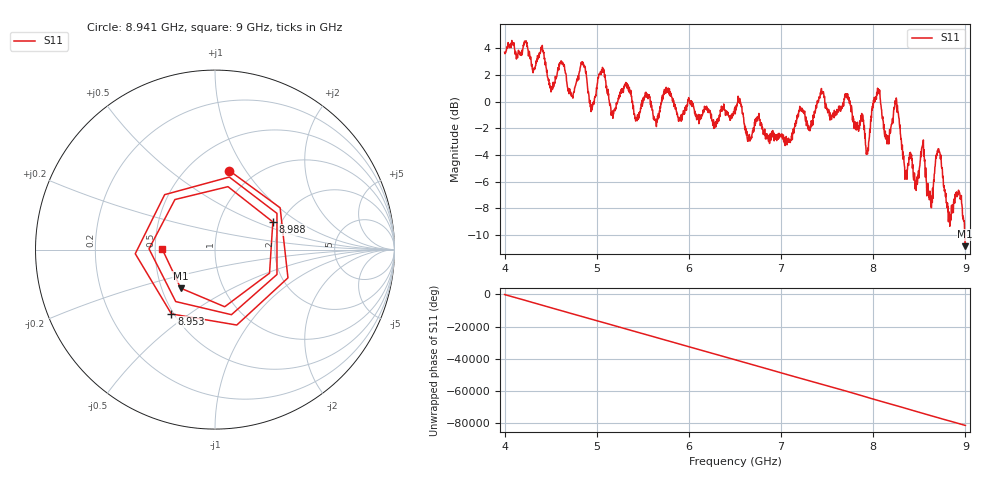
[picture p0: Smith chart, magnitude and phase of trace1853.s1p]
! Created with skrf 1.8.0 (http://scikit-rf.org).
# Hz S RI R 50.0
!freq ReS11 ImS11
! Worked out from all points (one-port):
!   1601 points, 4 GHz to 9 GHz, reference 50 ohm
!   lowest |S11| = -10.8 dB at 8.997 GHz (marker M1), VSWR 1.81, Z = 31.3 - j14.7 ohm
!   |S11| at or under -10 dB: 8.994543 GHz to end of sweep
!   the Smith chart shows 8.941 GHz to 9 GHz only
!   S11 on the Smith chart (normalised r, x): 8.941 GHz: 0.77, +0.85; 8.953 GHz: 0.49, -0.43; 8.988 GHz: 1.81, +0.64; 9 GHz: 0.54, +0.00
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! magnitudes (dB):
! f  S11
! 4 GHz  3.7
! 4.403 GHz  4.0
! 4.509 GHz  0.8
! 4.625 GHz  2.8
! 4.722 GHz  0.6
! 4.847 GHz  2.8
! 4.944 GHz  -0.5
! 5.053 GHz  2.4
! 5.25 GHz  0.3
! 5.875 GHz  -0.9
! 6.5 GHz  -0.5
! 7.125 GHz  -2.3
! 7.438 GHz  1.0
! 7.75 GHz  -0.2
! 7.934 GHz  -3.8
! 8.047 GHz  1.0
! 8.147 GHz  -2.9
! 8.247 GHz  0.0
! 8.375 GHz  -4.6
! 8.538 GHz  -3.2
! 8.625 GHz  -7.9
! 8.709 GHz  -3.5
! 8.819 GHz  -8.2
! 8.941 GHz  -7.0
! 8.953 GHz  -7.3
! 8.988 GHz  -8.9
! 8.997 GHz  -10.8
! 9 GHz  -10.6
